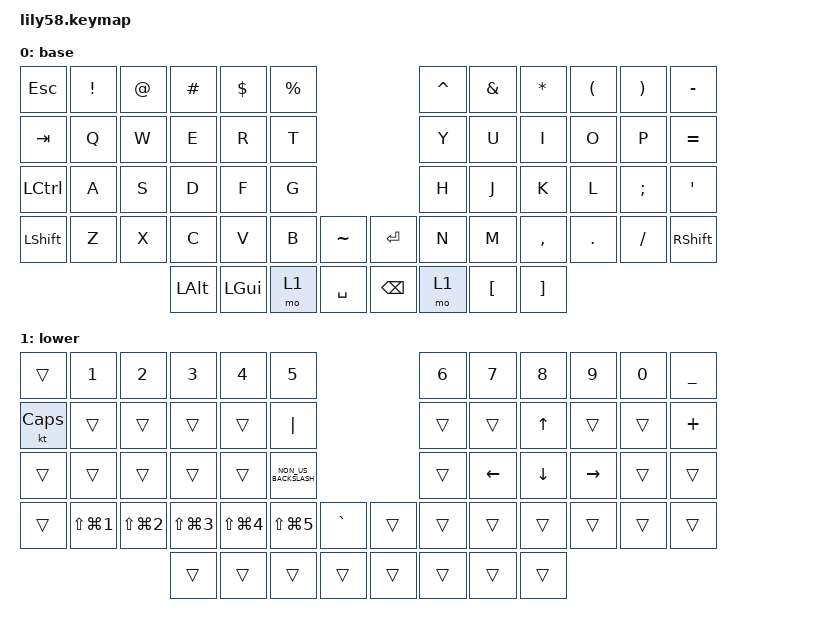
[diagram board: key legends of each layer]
/*
 * Copyright (c) 2020 The ZMK Contributors
 *
 * SPDX-License-Identifier: MIT
 */

#include <behaviors.dtsi>
#include <dt-bindings/zmk/keys.h>
#include <dt-bindings/zmk/keys.h>

/ {
    keymap {
        compatible = "zmk,keymap";

        base {
            bindings = <
&kp ESC    &kp EXCLAMATION  &kp AT_SIGN  &kp HASH  &kp DOLLAR  &kp PERCENT                              &kp CARET  &kp AMPERSAND     &kp ASTERISK       &kp LEFT_PARENTHESIS  &kp RIGHT_PARENTHESIS  &kp MINUS
&kp TAB    &kp Q            &kp W        &kp E     &kp R       &kp T                                    &kp Y      &kp U             &kp I              &kp O                 &kp P                  &kp EQUAL
&kp LCTRL  &kp A            &kp S        &kp D     &kp F       &kp G                                    &kp H      &kp J             &kp K              &kp L                 &kp SEMI               &kp SQT
&kp LSHFT  &kp Z            &kp X        &kp C     &kp V       &kp B        &kp TILDE    &kp ENTER      &kp N      &kp M             &kp COMMA          &kp DOT               &kp FSLH               &kp RSHFT
                                         &kp LALT  &kp LGUI    &mo 1        &kp SPACE    &kp BACKSPACE  &mo 1      &kp LEFT_BRACKET  &kp RIGHT_BRACKET
            >;
        };

        lower {
            bindings = <
&trans        &kp NUMBER_1          &kp NUMBER_2    &kp NUMBER_3    &kp N4          &kp N5                                     &kp N6  &kp N7    &kp N8    &kp N9     &kp N0  &kp UNDERSCORE
&kt CAPSLOCK  &trans                &trans          &trans          &trans          &kp PIPE                                   &trans  &trans    &kp UP    &trans     &trans  &kp PLUS
&trans        &trans                &trans          &trans          &trans          &kp NON_US_BACKSLASH                       &trans  &kp LEFT  &kp DOWN  &kp RIGHT  &trans  &trans
&trans        &kp LS(LG(NUMBER_1))  &kp LS(LG(N2))  &kp LS(LG(N3))  &kp LS(LG(N4))  &kp LS(LG(N5))        &kp GRAVE    &trans  &trans  &trans    &trans    &trans     &trans  &trans
                                                    &trans          &trans          &trans                &trans       &trans  &trans  &trans    &trans
            >;
        };
    };
};
